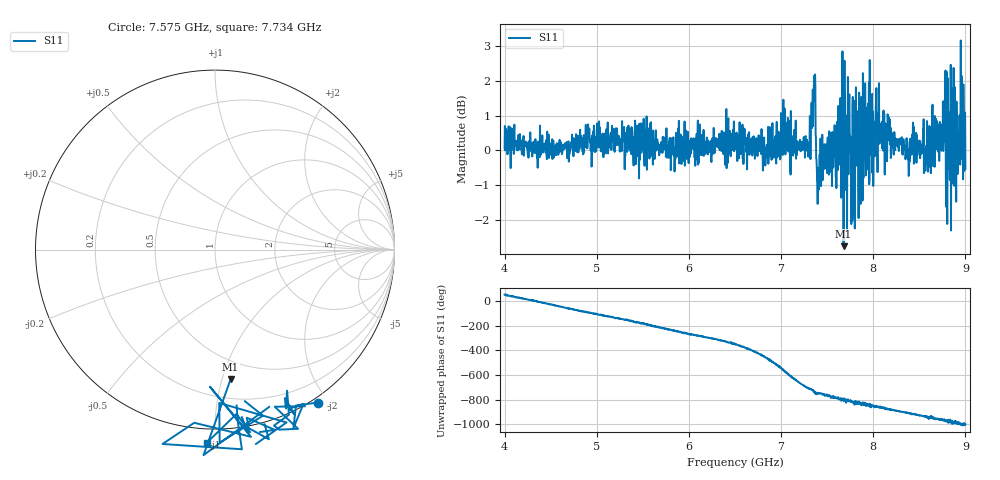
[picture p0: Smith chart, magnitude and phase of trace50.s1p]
! Created with skrf 1.8.0 (http://scikit-rf.org).
# Hz S RI R 50.0
!freq ReS11 ImS11
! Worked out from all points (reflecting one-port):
!   1601 points, 4 GHz to 9 GHz, reference 50 ohm
!   lowest |S11| = -2.8 dB at 7.678 GHz (marker M1), VSWR 6.35, Z = 17.3 - j53.3 ohm
!   phase of S11 starts at 51 deg and turns -1052 deg over the sweep
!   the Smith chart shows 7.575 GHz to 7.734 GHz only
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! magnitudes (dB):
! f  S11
! 4 GHz  0.1
! 4.625 GHz  -0.1
! 5.25 GHz  0.0
! 5.875 GHz  0.3
! 6.5 GHz  0.0
! 6.825 GHz  0.1
! 7.031 GHz  0.6
! 7.125 GHz  0.0
! 7.294 GHz  -0.2
! 7.347 GHz  0.7
! 7.409 GHz  -1.1
! 7.466 GHz  0.0
! 7.678 GHz  -2.8
! 7.75 GHz  0.1
! 7.775 GHz  1.2
! 7.8 GHz  -2.2
! 7.816 GHz  -0.4
! 7.828 GHz  0.2
! 7.962 GHz  2.6
! 7.991 GHz  -0.7
! 8.044 GHz  -0.1
! 8.375 GHz  0.0
! 8.441 GHz  -0.4
! 8.575 GHz  0.1
! 8.759 GHz  0.0
! 8.919 GHz  -0.5
! 8.972 GHz  0.4
! 9 GHz  -0.5
